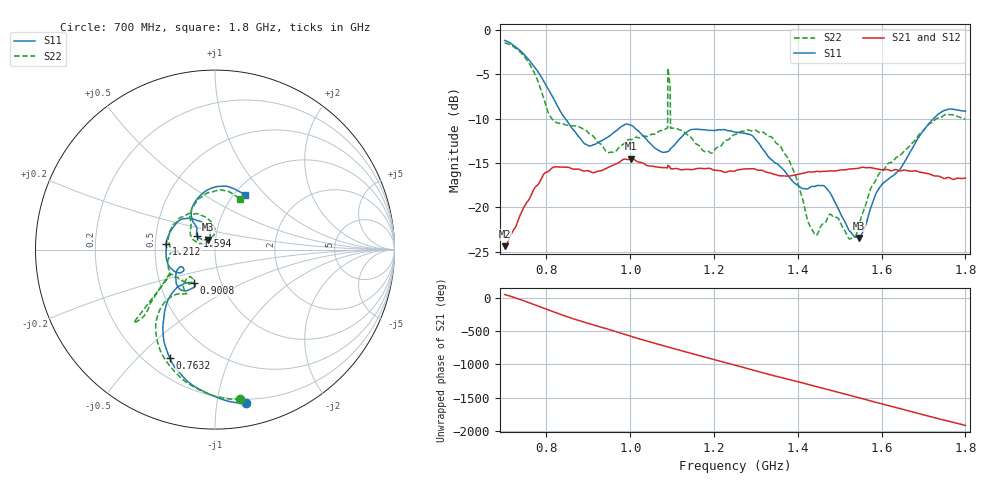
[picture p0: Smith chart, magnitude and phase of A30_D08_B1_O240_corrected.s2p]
! Created with skrf 1.9.0 (http://scikit-rf.org).
# Hz S RI R 50.0
!freq ReS11 ImS11 ReS21 ImS21 ReS12 ImS12 ReS22 ImS22
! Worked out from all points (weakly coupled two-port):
!   1601 points, 700 MHz to 1.8 GHz, reference 50 ohm
!   highest |S21| = -14.51 dB at 1.002 GHz (marker M1); lowest = -24.4 dB at 700 MHz (marker M2)
!   lowest |S11| = -23.5 dB at 1.546 GHz (marker M3), VSWR 1.14, Z = 46.2 + j5.21 ohm
!   |S11| at or under -10 dB: 844.8 MHz to 1.724 GHz (879 MHz wide, 68.4 % of centre)
!   |S22| runs from -23.6 to -1.5 dB; largest |S21 - S12| = 0.0037
!   S11 on the Smith chart (normalised r, x): 700 MHz: 0.17, -1.21; 763.2 MHz: 0.30, -0.62; 900.8 MHz: 0.74, -0.29; 1.212 GHz: 0.57, +0.04; 1.594 GHz: 0.81, +0.13; 1.8 GHz: 1.11, +0.77
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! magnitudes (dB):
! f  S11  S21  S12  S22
! 700 MHz  -1.2  -24.4  -24.2  -1.5
! 763.2 MHz  -3.7  -18.7  -18.7  -4.1
! 813.4 MHz  -7.4  -15.6  -15.6  -10.0
! 883.6 MHz  -12.4  -15.8  -15.7  -11.1
! 900.8 MHz  -13.1  -15.9  -15.9  -11.6
! 947.5 MHz  -12.1  -15.5  -15.5  -13.8
! 1.002 GHz  -10.7  -14.5  -14.6  -12.4
! 1.067 GHz  -13.6  -15.5  -15.4  -11.5
! 1.084 GHz  -13.8  -15.5  -15.5  -11.2
! 1.095 GHz  -13.5  -15.5  -15.6  -6.4
! 1.101 GHz  -13.2  -15.7  -15.6  -11.1
! 1.212 GHz  -11.2  -15.9  -15.8  -13.2
! 1.25 GHz  -11.5  -15.9  -15.8  -11.8
! 1.358 GHz  -15.4  -16.5  -16.4  -13.1
! 1.434 GHz  -17.7  -16.0  -16.0  -22.5
! 1.468 GHz  -17.8  -15.9  -15.9  -21.6
! 1.524 GHz  -22.7  -15.7  -15.7  -23.6
! 1.546 GHz  -23.5  -15.6  -15.6  -22.0
! 1.594 GHz  -17.9  -15.7  -15.7  -16.2
! 1.617 GHz  -16.8  -15.8  -15.8  -15.0
! 1.732 GHz  -9.6  -16.5  -16.5  -10.0
! 1.8 GHz  -9.2  -16.7  -16.7  -10.1
